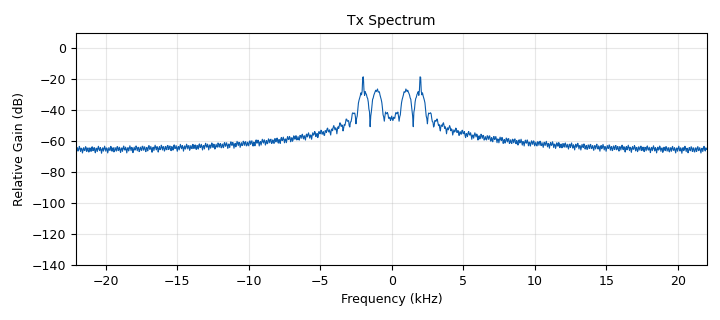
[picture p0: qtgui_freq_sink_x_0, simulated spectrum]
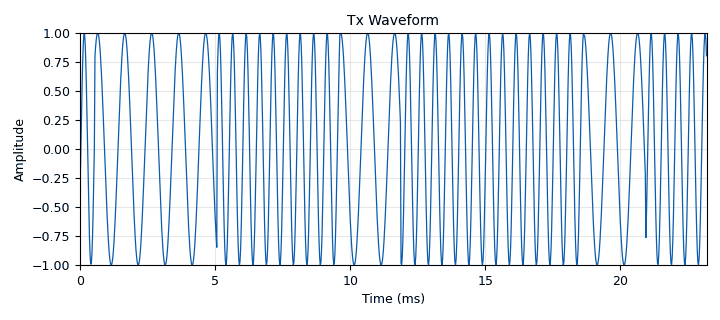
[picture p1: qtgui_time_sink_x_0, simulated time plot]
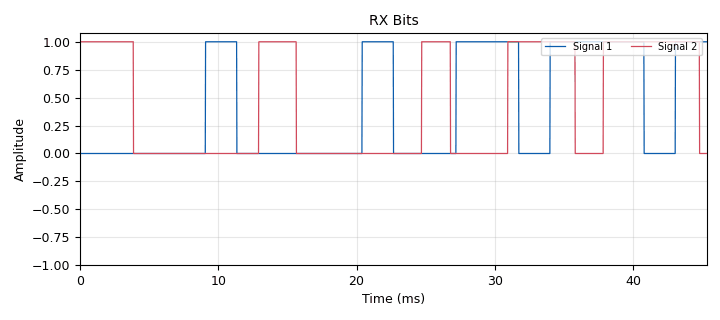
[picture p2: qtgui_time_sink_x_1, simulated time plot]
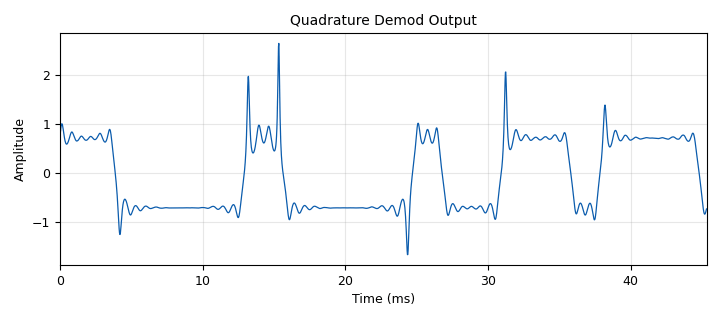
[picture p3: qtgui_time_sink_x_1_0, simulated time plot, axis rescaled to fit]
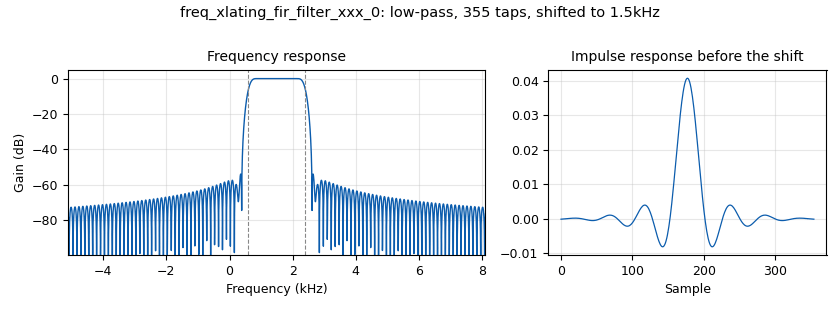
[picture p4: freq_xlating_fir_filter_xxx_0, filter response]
options:
  parameters:
    author: Ronakraj Gosalia
    generate_options: qt_gui
    id: transmitter
    output_language: python
    title: CommDio Transmitter
  states: {}

blocks:
- name: freq_high
  id: variable
  parameters:
    value: '2000'
  states: {}
- name: freq_low
  id: variable
  parameters:
    value: '1000'
  states: {}
- name: fsk_deviation
  id: variable
  parameters:
    value: '500'
  states: {}
- name: samp_rate
  id: variable
  parameters:
    value: '44100'
  states: {}
- name: variable_0
  id: variable
  parameters:
    value: '0'
  states: {}
- name: analog_const_source_x_0
  id: analog_const_source_x
  parameters:
    const: '1'
    type: float
  states: {}
- name: analog_quadrature_demod_cf_0
  id: analog_quadrature_demod_cf
  parameters:
    gain: '10'
  states: {}
- name: analog_random_source_x_0
  id: analog_random_source_x
  parameters:
    max: '2'
    min: '0'
    num_samps: '1000'
    repeat: 'False'
    type: byte
  states: {}
- name: analog_sig_source_x_0
  id: analog_sig_source_x
  parameters:
    amp: '1'
    freq: freq_low
    offset: '0'
    phase: '0'
    samp_rate: samp_rate
    type: float
    waveform: analog.GR_COS_WAVE
  states: {}
- name: analog_sig_source_x_0_0
  id: analog_sig_source_x
  parameters:
    amp: '1'
    freq: freq_high
    offset: '0'
    phase: '0'
    samp_rate: samp_rate
    type: float
    waveform: analog.GR_COS_WAVE
  states: {}
- name: audio_sink_0
  id: audio_sink
  parameters:
    samp_rate: samp_rate
  states: {}
- name: blocks_add_xx_0
  id: blocks_add_xx
  parameters:
    type: float
  states: {}
- name: blocks_char_to_float_0
  id: blocks_char_to_float
  parameters:
    scale: '1'
  states: {}
- name: blocks_char_to_float_1
  id: blocks_char_to_float
  parameters:
    scale: '1'
  states: {}
- name: blocks_multiply_xx_0
  id: blocks_multiply_xx
  parameters:
    type: float
  states: {}
- name: blocks_multiply_xx_1
  id: blocks_multiply_xx
  parameters:
    type: float
  states: {}
- name: blocks_repeat_0
  id: blocks_repeat
  parameters:
    interp: '100'
    type: byte
  states: {}
- name: blocks_sub_xx_0
  id: blocks_sub_xx
  parameters:
    type: float
  states: {}
- name: blocks_throttle2_0
  id: blocks_throttle2
  parameters:
    samples_per_second: samp_rate
    type: float
  states: {}
- name: digital_binary_slicer_fb_0
  id: digital_binary_slicer_fb
  parameters: {}
  states: {}
- name: freq_xlating_fir_filter_xxx_0
  id: freq_xlating_fir_filter_xxx
  parameters:
    center_freq: (freq_high+freq_low)/2.0
    decim: '1'
    samp_rate: samp_rate
    taps: firdes.low_pass(1,samp_rate,900,300)
    type: fcf
  states: {}
- name: qtgui_freq_sink_x_0
  id: qtgui_freq_sink_x
  parameters:
    bw: samp_rate
    fc: '0'
    fftsize: '1024'
    name: Tx Spectrum
    type: float
  states: {}
- name: qtgui_time_sink_x_0
  id: qtgui_time_sink_x
  parameters:
    name: Tx Waveform
    size: '1024'
    srate: samp_rate
    type: float
  states: {}
- name: qtgui_time_sink_x_1
  id: qtgui_time_sink_x
  parameters:
    name: RX Bits
    nconnections: '2'
    size: '2000'
    srate: samp_rate
    type: float
  states: {}
- name: qtgui_time_sink_x_1_0
  id: qtgui_time_sink_x
  parameters:
    name: Quadrature Demod Output
    size: '2000'
    srate: samp_rate
    type: float
  states: {}

connections:
- [analog_const_source_x_0, '0', blocks_sub_xx_0, '0']
- [analog_quadrature_demod_cf_0, '0', digital_binary_slicer_fb_0, '0']
- [analog_quadrature_demod_cf_0, '0', qtgui_time_sink_x_1_0, '0']
- [analog_random_source_x_0, '0', blocks_repeat_0, '0']
- [analog_sig_source_x_0, '0', blocks_multiply_xx_1, '1']
- [analog_sig_source_x_0_0, '0', blocks_multiply_xx_0, '0']
- [blocks_add_xx_0, '0', audio_sink_0, '0']
- [blocks_add_xx_0, '0', blocks_throttle2_0, '0']
- [blocks_add_xx_0, '0', qtgui_time_sink_x_0, '0']
- [blocks_char_to_float_0, '0', blocks_multiply_xx_0, '1']
- [blocks_char_to_float_0, '0', blocks_sub_xx_0, '1']
- [blocks_char_to_float_0, '0', qtgui_time_sink_x_1, '0']
- [blocks_char_to_float_1, '0', qtgui_time_sink_x_1, '1']
- [blocks_multiply_xx_0, '0', blocks_add_xx_0, '0']
- [blocks_multiply_xx_1, '0', blocks_add_xx_0, '1']
- [blocks_repeat_0, '0', blocks_char_to_float_0, '0']
- [blocks_sub_xx_0, '0', blocks_multiply_xx_1, '0']
- [blocks_throttle2_0, '0', freq_xlating_fir_filter_xxx_0, '0']
- [blocks_throttle2_0, '0', qtgui_freq_sink_x_0, '0']
- [digital_binary_slicer_fb_0, '0', blocks_char_to_float_1, '0']
- [freq_xlating_fir_filter_xxx_0, '0', analog_quadrature_demod_cf_0, '0']

metadata:
  file_format: 1
  grc_version: 3.10.12.0
